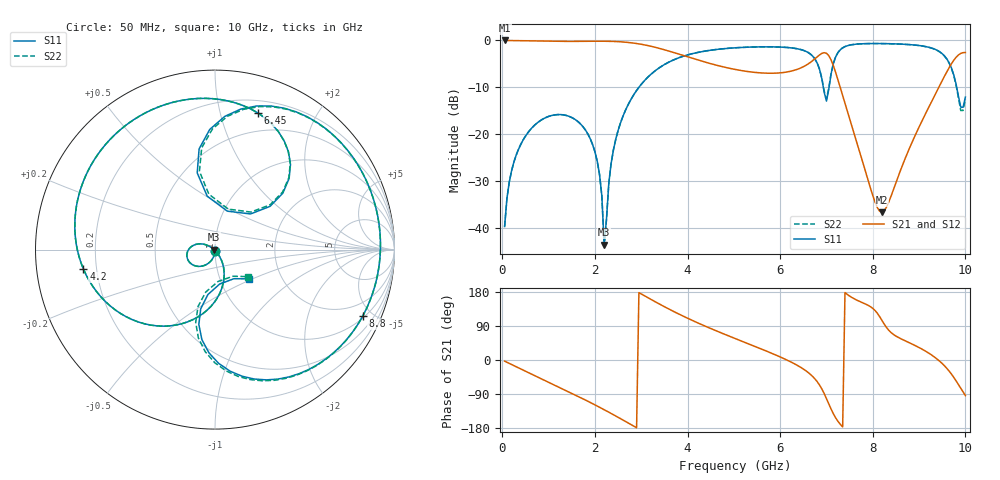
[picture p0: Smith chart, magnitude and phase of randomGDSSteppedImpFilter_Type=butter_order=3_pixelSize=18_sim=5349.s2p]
! freq	dB(S11)	phase(S11)	dB(S12)	phase(S12)
!  dB(S21)	phase(S21)	dB(S22)	phase(S22)
!S-par simulation data
#  GHz  S  DB  R 50
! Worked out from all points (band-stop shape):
!   200 points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, 50 MHz to 10 GHz, reference 50 ohm
!   highest |S21| = 0.00 dB at 50 MHz (marker M1); lowest = -36.7 dB at 8.2 GHz (marker M2)
!   |S21| within 3 dB of the highest: start of sweep to 3.838 GHz; 6.865 GHz to 7.026 GHz (161.5 MHz wide, 2.33 % of centre) (the widest 2 of 3)
!   lowest |S11| = -43.6 dB at 2.2 GHz (marker M3), VSWR 1.01, Z = 49.3 + j0.0471 ohm
!   |S11| at or under -10 dB: start of sweep to 2.951 GHz; 6.932 GHz to 7.057 GHz (124.8 MHz wide, 1.78 % of centre); 9.812 GHz to end of sweep
!   |S22| runs from -43.9 to -0.7 dB; largest |S21 - S12| = 0
!   S11 on the Smith chart (normalised r, x): 50 MHz: 1.00, -0.02; 4.2 GHz: 0.15, -0.07; 6.45 GHz: 0.31, +1.31; 8.8 GHz: 1.09, -4.38; 10 GHz: 1.37, -0.47
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0.05  -39.74 -92.3  -0.00 -3.0  -0.00 -3.0  -39.74 -92.3
0.2  -27.85 -101.3  -0.03 -11.9  -0.03 -11.9  -27.85 -101.3
0.6  -19.11 -125.6  -0.10 -35.4  -0.10 -35.4  -19.11 -125.6
1.75  -18.52 167.5  -0.19 -102.9  -0.19 -102.9  -18.52 167.3
2.05  -25.79 151.3  -0.17 -121.5  -0.17 -121.5  -25.79 150.9
2.2  -43.63 175.8  -0.17 -131.2  -0.17 -131.2  -43.93 173.0
2.35  -26.28 -56.6  -0.20 -141.0  -0.20 -141.0  -26.29 -56.2
2.5  -19.25 -64.3  -0.26 -151.1  -0.26 -151.1  -19.25 -64.0
3.4  -5.77 -124.0  -1.72 147.2  -1.72 147.2  -5.77 -124.0
4.2  -2.61 -171.5  -4.11 99.1  -4.11 99.1  -2.61 -171.5
5.05  -1.56 145.7  -6.24 55.6  -6.24 55.6  -1.56 145.6
6.45  -1.96 72.6  -5.85 -19.8  -5.85 -19.8  -1.96 72.6
6.7  -3.33 53.1  -4.33 -43.3  -4.33 -43.3  -3.31 53.3
7  -12.96 72.3  -2.74 -101.7  -2.74 -101.7  -12.49 71.8
7.15  -4.91 99.0  -5.41 -142.0  -5.41 -142.0  -4.85 97.4
7.45  -1.13 63.8  -15.08 173.0  -15.08 173.0  -1.13 62.9
8.2  -0.67 12.3  -36.70 104.0  -36.70 104.0  -0.67 11.4
8.35  -0.69 3.3  -34.40 77.9  -34.40 77.9  -0.70 2.4
8.8  -0.89 -24.3  -22.83 44.9  -22.83 44.9  -0.90 -25.4
9.35  -1.92 -64.1  -11.48 6.2  -11.48 6.2  -1.94 -65.5
9.7  -5.91 -98.3  -4.97 -37.4  -4.97 -37.4  -6.00 -100.6
10  -12.10 -41.0  -2.59 -93.9  -2.59 -93.9  -12.46 -39.2
